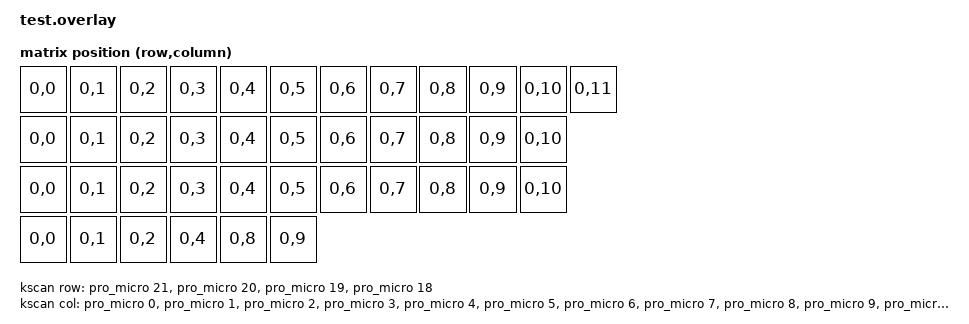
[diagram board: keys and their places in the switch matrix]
#include <dt-bindings/zmk/matrix_transform.h> 

/ {
    kscan: kscan {
        compatible = "zmk,kscan-gpio-matrix";
        diode-direction = "col2row";
        
        col-gpios
	    = <&pro_micro 0 GPIO_ACTIVE_HIGH>
	    , <&pro_micro 1 GPIO_ACTIVE_HIGH>
	    , <&pro_micro 2 GPIO_ACTIVE_HIGH>
	    , <&pro_micro 3 GPIO_ACTIVE_HIGH>
	    , <&pro_micro 4 GPIO_ACTIVE_HIGH>
	    , <&pro_micro 5 GPIO_ACTIVE_HIGH>
	    , <&pro_micro 6 GPIO_ACTIVE_HIGH>
	    , <&pro_micro 7 GPIO_ACTIVE_HIGH>
	    , <&pro_micro 8 GPIO_ACTIVE_HIGH>
	    , <&pro_micro 9 GPIO_ACTIVE_HIGH>
	    , <&pro_micro 10 GPIO_ACTIVE_HIGH>
	    , <&pro_micro 14 GPIO_ACTIVE_HIGH>
	    ;
	
        row-gpios
	    = <&pro_micro 21 (GPIO_ACTIVE_HIGH | GPIO_PULL_DOWN)>
	    , <&pro_micro 20 (GPIO_ACTIVE_HIGH | GPIO_PULL_DOWN)>
	    , <&pro_micro 19 (GPIO_ACTIVE_HIGH | GPIO_PULL_DOWN)>
	    , <&pro_micro 18 (GPIO_ACTIVE_HIGH | GPIO_PULL_DOWN)>
	    ;

    };
    
    default_transform: matrix_transform {
        compatible = "zmk,matrix-transform";
        columns = <12>;
        rows = <4>;
        map = <
            RC(0,0) RC(0,1) RC(0,2) RC(0,3) RC(0,4) RC(0,5) RC(0,6) RC(0,7) RC(0,8) RC(0,9) RC(0,10) RC(0,11)
            RC(0,0) RC(0,1) RC(0,2) RC(0,3) RC(0,4) RC(0,5) RC(0,6) RC(0,7) RC(0,8) RC(0,9) RC(0,10)
            RC(0,0) RC(0,1) RC(0,2) RC(0,3) RC(0,4) RC(0,5) RC(0,6) RC(0,7) RC(0,8) RC(0,9) RC(0,10)
            RC(0,0) RC(0,1) RC(0,2) RC(0,4) RC(0,8) RC(0,9)
        >;
    };
    
    physical_layout: physical_layout { 
        compatible = "zmk,physical-layout";
        display-name = "Default Layout";
        transform = <&default_transform>; 
    };
    
    
    chosen {
        zmk,kscan = &kscan;
        zmk,physical-layout = &physical_layout;
    };
};
